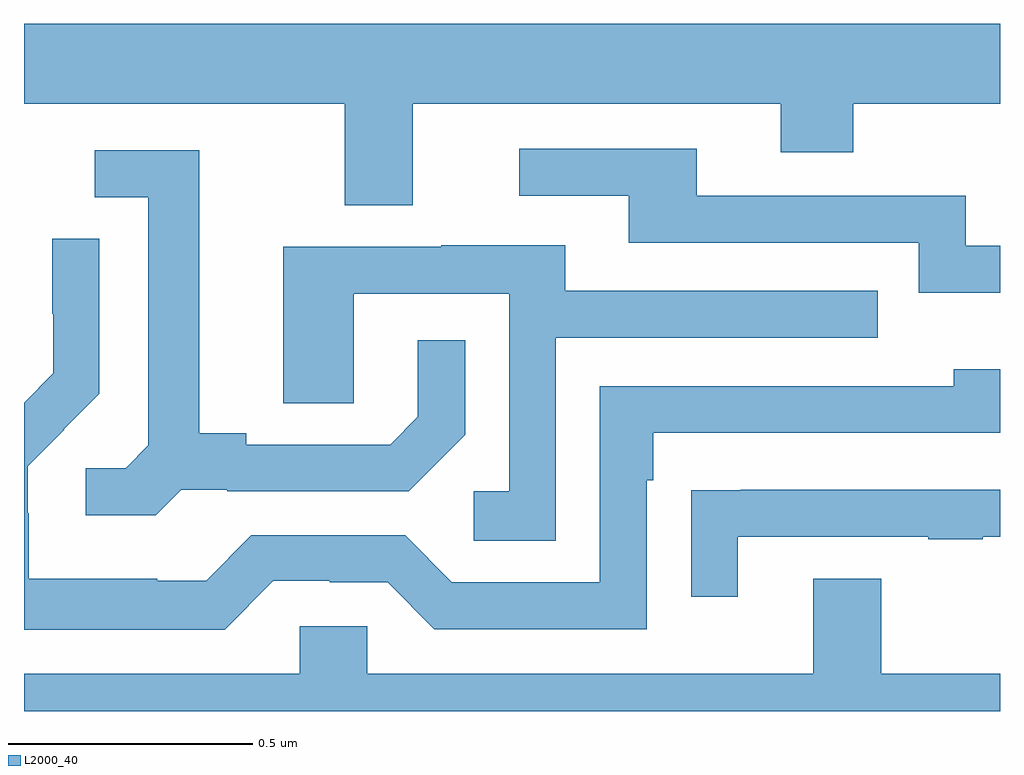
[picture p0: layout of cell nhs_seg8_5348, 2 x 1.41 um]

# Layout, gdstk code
import gdstk
lib = gdstk.Library(unit=1e-6, precision=1e-09)
def P(c, l, *ps):  # polygons
    for p in ps: c.add(gdstk.Polygon(p, *l))
L2000_40 = (2000, 40)

nhs_seg8_5348 = lib.new_cell('nhs_seg8_5348')
P(nhs_seg8_5348, L2000_40, [(182.797,1139.144),(183.551,1139.144),(183.551,1139.045),(183.699,1139.045),(183.699,1139.144),(184,1139.144),(184,1139.308),(182,1139.308),(182,1139.144),(182.657,1139.144),(182.657,1138.936),(182.797,1138.936)],
  [(184,1138.854),(183.93,1138.854),(183.93,1138.956),(183.379,1138.956),(183.379,1139.052),(183.015,1139.052),(183.015,1138.956),(183.239,1138.956),(183.239,1138.86),(183.834,1138.86),(183.834,1138.757),(184,1138.757)],
  [(182.322,1138.353),(182.416,1138.353),(182.416,1138.35),(182.788,1138.35),(182.904,1138.466),(182.904,1138.66),(182.807,1138.66),(182.807,1138.503),(182.75,1138.446),(182.455,1138.446),(182.455,1138.469),(182.359,1138.469),(182.359,1139.049),(182.145,1139.049),(182.145,1138.953),(182.255,1138.953),(182.255,1138.445),(182.208,1138.398),(182.127,1138.398),(182.127,1138.301),(182.27,1138.301)],
  [(182.511,1138.167),(182.627,1138.167),(182.627,1138.164),(182.745,1138.164),(182.841,1138.068),(183.276,1138.068),(183.276,1138.373),(183.289,1138.373),(183.289,1138.47),(184,1138.47),(184,1138.6),(183.905,1138.6),(183.905,1138.566),(183.18,1138.566),(183.18,1138.164),(182.877,1138.164),(182.781,1138.26),(182.466,1138.26),(182.373,1138.167),(182.273,1138.167),(182.273,1138.171),(182.01,1138.171),(182.01,1138.305),(182.008,1138.305),(182.008,1138.402),(182.082,1138.476),(182.081,1138.477),(182.154,1138.55),(182.154,1138.868),(182.058,1138.868),(182.058,1138.714),(182.06,1138.714),(182.06,1138.592),(182,1138.532),(182,1138.067),(182.411,1138.067)],
  [(183.09,1138.665),(183.749,1138.665),(183.749,1138.761),(183.109,1138.761),(183.109,1138.855),(182.855,1138.855),(182.855,1138.851),(182.531,1138.851),(182.531,1138.531),(182.676,1138.531),(182.676,1138.755),(182.994,1138.755),(182.994,1138.35),(182.922,1138.35),(182.922,1138.249),(183.09,1138.249)],
  [(183.463,1138.257),(183.853,1138.257),(183.853,1138.252),(183.965,1138.252),(183.965,1138.257),(184,1138.257),(184,1138.353),(183.469,1138.353),(183.469,1138.352),(183.367,1138.352),(183.367,1138.134),(183.463,1138.134)],
  [(184,1137.976),(183.757,1137.976),(183.757,1138.171),(183.617,1138.171),(183.617,1137.976),(182.703,1137.976),(182.703,1138.074),(182.565,1138.074),(182.565,1137.976),(182,1137.976),(182,1137.9),(184,1137.9)])

lib.write_gds('nhs_seg8_5348.gds')
